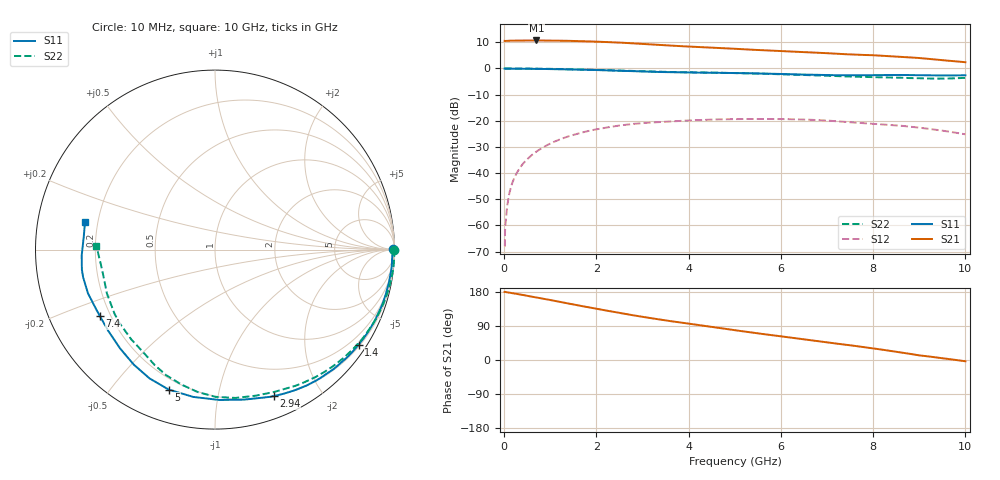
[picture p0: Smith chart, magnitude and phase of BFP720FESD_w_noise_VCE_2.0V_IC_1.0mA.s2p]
! Infineon Technologies  Discrete & RF Semiconductors
! BFP720FESD
! VCE =  2.0 V,  IC =  1.0 mA
! Common Emitter S-Parameters:  Jan 2016
# GHz  S  MA  R  50
!  f  S11  S21  S12  S22
! GHz  MAG  ANG  MAG  ANG  MAG  ANG  MAG  ANG
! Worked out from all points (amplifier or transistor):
!   233 points, 10 MHz to 10 GHz, reference 50 ohm
!   highest |S21| = 10.7 dB at 700 MHz (marker M1)
!   |S21| within 3 dB of that: start of sweep to 4.782 GHz
!   unconditionally stable (mu >= 1): start of sweep to 10.1 MHz; 9.139 GHz to end of sweep
!   at 200 MHz: K = -0.01, MSG = 26.7 dB, |S12| = -42.7 dB
!   at 1.74 GHz: K = 0.08, MSG = 17.3 dB, |S12| = -24.3 dB
!   at 10 GHz: K = 1.44, MAG = 9.9 dB, |S12| = -25.2 dB
!   lowest NFmin = 0.46 dB at 450 MHz
!   S11 on the Smith chart (normalised r, x): 10 MHz: open; 1.4 GHz: 0.25, -3.31; 2.94 GHz: 0.20, -1.46; 5 GHz: 0.15, -0.71; 7.4 GHz: 0.16, -0.26; 10 GHz: 0.15, +0.10
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0.01  0.9924 0.2  3.368 179.6  0.0004 6.3  0.9978 0.0
0.015  0.991 -0.1  3.359 179.7  0.0004 71.6  0.9987 -0.2
0.02  0.9896 -0.4  3.351 179.9  0.0008 98.6  0.9996 -0.4
0.03  0.9895 -0.6  3.353 179.6  0.0011 93.1  0.9996 -0.6
0.065  0.9889 -1.4  3.367 178.7  0.0023 87.8  0.9995 -1.2
0.16  0.9884 -3.9  3.399 176.9  0.0059 87.5  0.9994 -3.1
0.36  0.9867 -8.5  3.418 172.6  0.0133 83.4  0.9976 -6.9
0.7  0.9819 -16.6  3.429 165.0  0.0258 77.0  0.9915 -13.5
1.4  0.9597 -33.5  3.374 148.8  0.0505 62.8  0.9673 -27.6
1.68  0.9474 -40.0  3.331 142.4  0.0594 57.1  0.9537 -33.3
2.38  0.9136 -55.7  3.159 126.9  0.0783 43.4  0.9167 -47.4
2.94  0.8792 -68.1  2.979 115.0  0.0894 32.7  0.8843 -58.3
3.4  0.8543 -77.1  2.805 106.3  0.0951 25.1  0.8619 -65.8
4.5  0.8297 -98.4  2.508 87.4  0.1057 9.7  0.8342 -82.1
5  0.8215 -108.3  2.378 78.6  0.1081 2.3  0.8204 -89.8
5.1  0.8167 -110.0  2.349 77.0  0.108 0.9  0.8151 -91.2
6  0.7845 -125.2  2.158 62.5  0.1079 -11.5  0.7746 -104.0
6.8  0.7516 -139.2  1.995 49.6  0.1027 -22.5  0.7345 -115.0
7.4  0.7407 -149.9  1.872 40.4  0.0949 -30.0  0.7047 -122.6
8.4  0.7507 -168.1  1.715 23.6  0.083 -39.8  0.6711 -142.6
9  0.7434 -177.5  1.583 12.2  0.0738 -46.8  0.6498 -157.9
10  0.74 168.2  1.317 -3.4  0.0551 -53.9  0.6613 178.2
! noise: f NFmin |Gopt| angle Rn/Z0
0.45  0.46  0.85  5  0.47
2.4  0.87  0.66  37  0.43
5.5  1.17  0.64  105  0.24
10  2.33  0.52  -167  0.14
